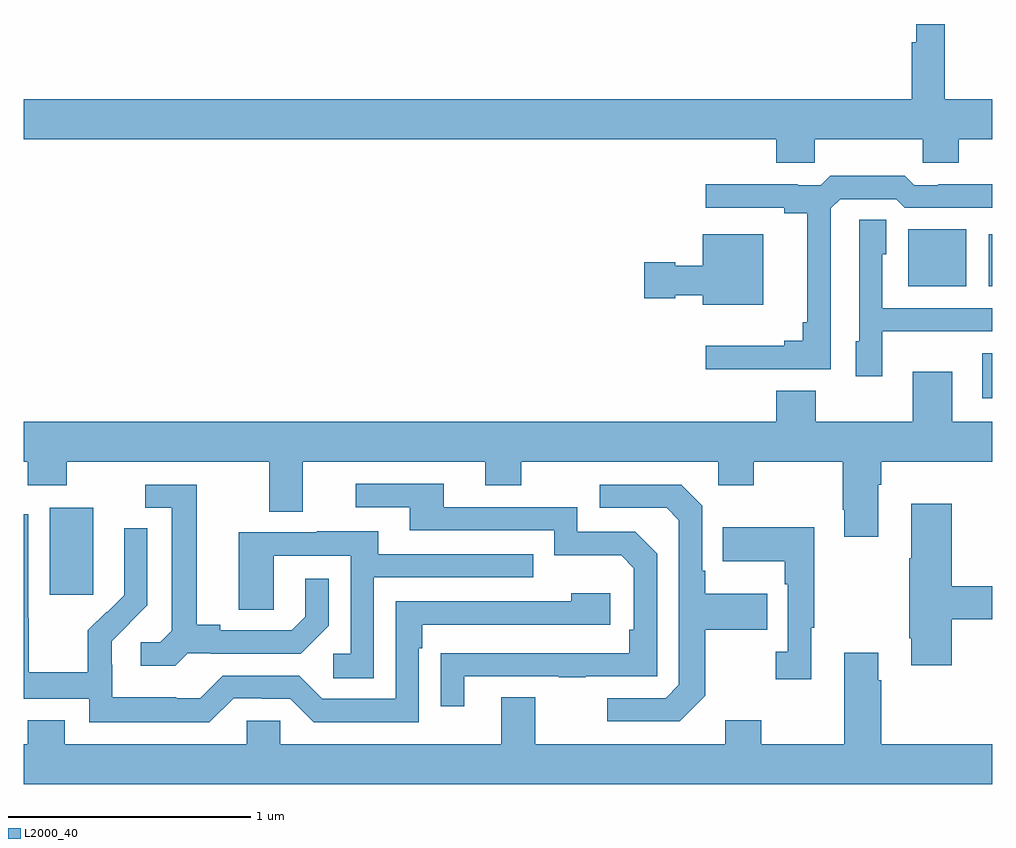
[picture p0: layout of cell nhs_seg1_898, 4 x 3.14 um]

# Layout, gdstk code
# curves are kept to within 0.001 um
import gdstk
lib = gdstk.Library(unit=1e-6, precision=1e-09)
def R(c, l, rs):  # rectangles x0, y0, x1, y1
    for r in rs: c.add(gdstk.rectangle(r[:2], r[2:], *l))
def P(c, l, *ps):  # polygons
    for p in ps: c.add(gdstk.Polygon(p, *l))
L2000_40 = (2000, 40)

nhs_seg1_898 = lib.new_cell('nhs_seg1_898')
R(nhs_seg1_898, L2000_40, [(159.107,557.841,159.286,558.202), (162.959,558.654,163,558.84), (162.653,559.115,162.892,559.351), (162.986,559.115,163,559.33)])
P(nhs_seg1_898, L2000_40, [(162.267,559.724),(162.712,559.724),(162.712,559.626),(162.862,559.626),(162.862,559.724),(163,559.724),(163,559.888),(162.803,559.888),(162.803,560.199),(162.686,560.199),(162.686,560.124),(162.667,560.124),(162.667,559.888),(159,559.888),(159,559.724),(162.107,559.724),(162.107,559.626),(162.267,559.626)],
  [(162.333,559.437),(162.372,559.476),(162.603,559.476),(162.639,559.44),(163,559.44),(163,559.538),(162.778,559.538),(162.778,559.533),(162.678,559.533),(162.639,559.573),(162.331,559.573),(162.291,559.533),(162.197,559.533),(162.197,559.538),(161.817,559.538),(161.817,559.44),(162.14,559.44),(162.14,559.418),(162.236,559.418),(162.236,558.967),(162.217,558.967),(162.217,558.89),(162.14,558.89),(162.14,558.871),(161.817,558.871),(161.817,558.774),(162.333,558.774)],
  [(162.546,558.929),(162.863,558.929),(162.863,558.93),(163,558.93),(163,559.026),(162.546,559.026),(162.546,559.248),(162.562,559.248),(162.562,559.391),(162.45,559.391),(162.45,558.888),(162.437,558.888),(162.437,558.744),(162.546,558.744)],
  [(162.055,559.33),(161.804,559.33),(161.804,559.201),(161.691,559.201),(161.691,559.214),(161.562,559.214),(161.562,559.067),(161.691,559.067),(161.691,559.079),(161.804,559.079),(161.804,559.04),(162.055,559.04)],
  [(162.529,558.296),(162.542,558.296),(162.542,558.392),(163,558.392),(163,558.556),(162.835,558.556),(162.835,558.763),(162.671,558.763),(162.671,558.556),(162.271,558.556),(162.271,558.685),(162.107,558.685),(162.107,558.556),(159,558.556),(159,558.392),(159.017,558.392),(159.017,558.293),(159.177,558.293),(159.177,558.392),(160.013,558.392),(160.013,558.184),(160.153,558.184),(160.153,558.392),(160.907,558.392),(160.907,558.293),(161.055,558.293),(161.055,558.392),(161.868,558.392),(161.868,558.293),(162.015,558.293),(162.015,558.392),(162.382,558.392),(162.382,558.193),(162.389,558.193),(162.389,558.081),(162.529,558.081)],
  [(160.819,557.505),(161.209,557.505),(161.209,557.5),(161.321,557.5),(161.321,557.505),(161.616,557.505),(161.616,558.012),(161.526,558.102),(161.286,558.102),(161.286,558.204),(160.735,558.204),(160.735,558.3),(160.371,558.3),(160.371,558.204),(160.595,558.204),(160.595,558.108),(161.19,558.108),(161.19,558.005),(161.467,558.005),(161.52,557.952),(161.52,557.698),(161.5,557.698),(161.5,557.601),(160.723,557.6),(160.723,557.382),(160.819,557.382)],
  [(159.678,557.601),(159.772,557.601),(159.772,557.598),(160.144,557.598),(160.26,557.714),(160.26,557.908),(160.163,557.908),(160.163,557.751),(160.106,557.694),(159.811,557.694),(159.811,557.717),(159.715,557.717),(159.715,558.297),(159.501,558.297),(159.501,558.201),(159.611,558.201),(159.611,557.693),(159.564,557.646),(159.483,557.646),(159.483,557.549),(159.626,557.549)],
  [(161.815,557.425),(161.815,557.698),(162.071,557.698),(162.071,557.845),(161.815,557.845),(161.815,557.941),(161.802,557.941),(161.802,558.21),(161.715,558.297),(161.379,558.297),(161.379,558.201),(161.655,558.201),(161.706,558.15),(161.706,557.469),(161.652,557.415),(161.409,557.415),(161.409,557.319),(161.709,557.319)],
  [(162.833,557.74),(163,557.74),(163,557.876),(162.833,557.876),(162.833,558.217),(162.665,558.217),(162.665,557.993),(162.658,557.993),(162.658,557.662),(162.665,557.662),(162.665,557.55),(162.833,557.55)],
  [(159.867,557.415),(159.983,557.415),(159.983,557.412),(160.101,557.412),(160.197,557.316),(160.632,557.316),(160.632,557.621),(160.645,557.621),(160.645,557.718),(161.422,557.718),(161.422,557.848),(161.261,557.848),(161.261,557.814),(160.536,557.814),(160.536,557.412),(160.233,557.412),(160.137,557.508),(159.822,557.508),(159.729,557.415),(159.629,557.415),(159.629,557.419),(159.366,557.419),(159.366,557.553),(159.364,557.553),(159.364,557.65),(159.51,557.798),(159.51,558.116),(159.414,558.116),(159.414,557.962),(159.416,557.962),(159.416,557.84),(159.345,557.769),(159.342,557.772),(159.265,557.695),(159.265,557.521),(159.021,557.521),(159.021,557.744),(159.018,557.744),(159.018,558.174),(159,558.174),(159,557.412),(159.27,557.412),(159.27,557.315),(159.767,557.315)],
  [(162.253,557.705),(162.265,557.705),(162.265,558.121),(161.887,558.121),(161.887,557.981),(162.144,557.981),(162.144,557.885),(162.156,557.885),(162.156,557.606),(162.105,557.606),(162.105,557.493),(162.253,557.493)],
  [(160.446,557.913),(161.105,557.913),(161.105,558.009),(160.465,558.009),(160.465,558.103),(160.211,558.103),(160.211,558.099),(159.887,558.099),(159.887,557.779),(160.032,557.779),(160.032,558.003),(160.35,558.003),(160.35,557.598),(160.278,557.598),(160.278,557.497),(160.446,557.497)],
  [(163,557.224),(162.542,557.224),(162.542,557.489),(162.529,557.489),(162.529,557.602),(162.389,557.602),(162.389,557.224),(162.045,557.224),(162.045,557.323),(161.897,557.323),(161.897,557.224),(161.113,557.224),(161.113,557.419),(160.973,557.419),(160.973,557.224),(160.059,557.224),(160.059,557.322),(159.921,557.322),(159.921,557.224),(159.169,557.224),(159.169,557.323),(159.017,557.323),(159.017,557.224),(159,557.224),(159,557.06),(163,557.06)])

lib.write_gds('nhs_seg1_898.gds')
